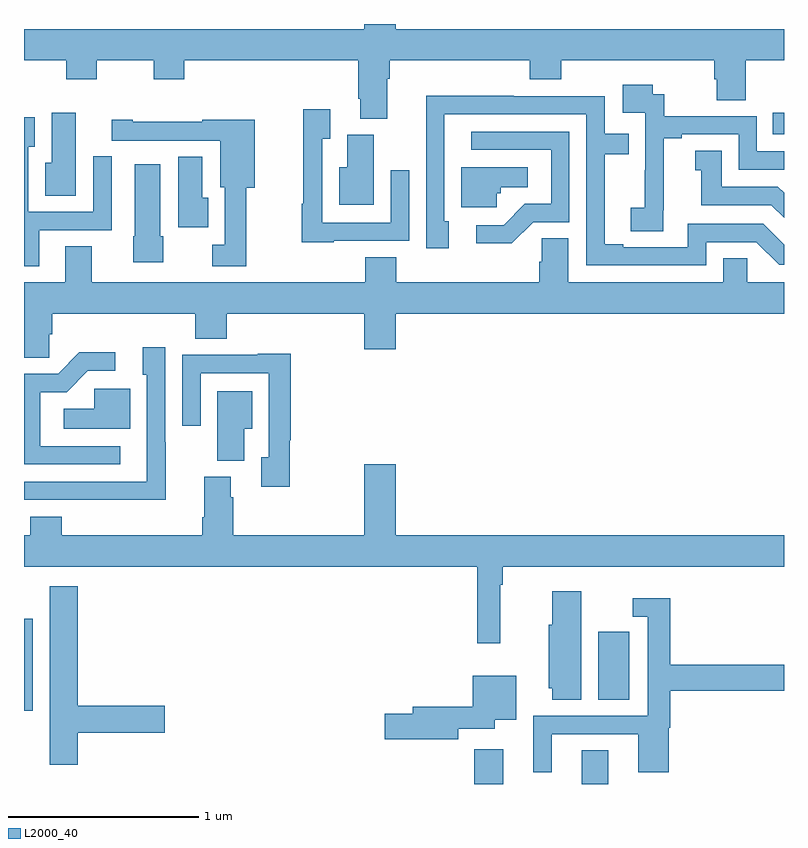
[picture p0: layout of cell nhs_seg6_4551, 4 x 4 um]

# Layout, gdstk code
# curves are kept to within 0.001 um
import gdstk
lib = gdstk.Library(unit=1e-6, precision=1e-09)
def R(c, l, rs):  # rectangles x0, y0, x1, y1
    for r in rs: c.add(gdstk.rectangle(r[:2], r[2:], *l))
def P(c, l, *ps):  # polygons
    for p in ps: c.add(gdstk.Polygon(p, *l))
L2000_40 = (2000, 40)

nhs_seg6_4551 = lib.new_cell('nhs_seg6_4551')
R(nhs_seg6_4551, L2000_40, [(381.371,971.5,381.523,971.683), (381.935,971.5,382.075,971.678), (379,971.886,379.047,972.369), (382.022,971.944,382.186,972.301), (382.942,974.919,383,975.034)])
P(nhs_seg6_4551, L2000_40, [(380.956,975.5),(380.792,975.5),(380.792,975.472),(379,975.472),(379,975.308),(379.223,975.308),(379.223,975.209),(379.383,975.209),(379.383,975.308),(379.684,975.308),(379.684,975.209),(379.844,975.209),(379.844,975.308),(380.759,975.308),(380.759,975.106),(380.771,975.106),(380.771,975.001),(380.911,975.001),(380.911,975.212),(380.924,975.212),(380.924,975.308),(381.662,975.308),(381.662,975.209),(381.827,975.209),(381.827,975.308),(382.634,975.308),(382.634,975.21),(382.646,975.21),(382.646,975.1),(382.799,975.1),(382.799,975.308),(383,975.308),(383,975.472),(380.956,975.472)],
  [(382.364,974.521),(382.366,974.521),(382.366,974.899),(382.462,974.899),(382.462,974.919),(382.761,974.919),(382.761,974.733),(383,974.733),(383,974.829),(382.857,974.829),(382.857,975.015),(382.37,975.015),(382.37,975.129),(382.308,975.129),(382.308,975.181),(382.152,975.181),(382.152,975.033),(382.269,975.033),(382.269,974.729),(382.268,974.729),(382.268,974.532),(382.194,974.532),(382.194,974.41),(382.364,974.41)],
  [(382.59,974.352),(382.854,974.352),(382.974,974.232),(383,974.232),(383,974.338),(382.89,974.448),(382.494,974.448),(382.494,974.325),(382.153,974.325),(382.153,974.34),(382.057,974.34),(382.057,974.814),(382.184,974.814),(382.184,974.922),(382.056,974.922),(382.056,975.12),(381.578,975.12),(381.578,975.122),(381.116,975.122),(381.117,974.319),(381.235,974.319),(381.235,974.463),(381.213,974.463),(381.213,975.024),(381.96,975.024),(381.96,974.229),(382.59,974.229)],
  [(380.631,974.358),(381.027,974.358),(381.027,974.731),(380.931,974.731),(380.931,974.454),(380.571,974.454),(380.571,974.896),(380.611,974.896),(380.611,975.052),(380.47,975.052),(380.47,974.555),(380.463,974.555),(380.463,974.351),(380.631,974.351)],
  [(379.273,975.034),(379.145,975.034),(379.145,974.77),(379.112,974.77),(379.112,974.596),(379.273,974.596)],
  [(379.081,974.415),(379.461,974.415),(379.461,974.805),(379.365,974.805),(379.365,974.511),(379.023,974.511),(379.023,974.854),(379.057,974.854),(379.057,975.01),(379,975.01),(379,974.226),(379.081,974.226)],
  [(380.171,974.639),(380.215,974.639),(380.215,974.995),(379.937,974.995),(379.937,974.985),(379.573,974.985),(379.573,974.995),(379.461,974.995),(379.461,974.886),(380.033,974.886),(380.033,974.64),(380.057,974.64),(380.057,974.338),(379.992,974.338),(379.992,974.225),(380.171,974.225)],
  [(381.681,974.457),(381.87,974.457),(381.87,974.934),(381.354,974.934),(381.354,974.838),(381.774,974.838),(381.774,974.553),(381.636,974.553),(381.525,974.442),(381.381,974.442),(381.381,974.345),(381.568,974.345)],
  [(380.842,974.916),(380.702,974.916),(380.702,974.746),(380.66,974.746),(380.66,974.549),(380.842,974.549)],
  [(383,974.611),(382.968,974.643),(382.672,974.643),(382.672,974.834),(382.532,974.834),(382.532,974.731),(382.565,974.731),(382.565,974.547),(382.932,974.547),(383,974.479)],
  [(379.969,974.586),(379.939,974.586),(379.939,974.801),(379.811,974.801),(379.811,974.43),(379.969,974.43)],
  [(379.732,974.382),(379.717,974.382),(379.717,974.761),(379.583,974.761),(379.583,974.382),(379.574,974.382),(379.574,974.246),(379.732,974.246)],
  [(381.489,974.61),(381.508,974.61),(381.508,974.642),(381.652,974.642),(381.652,974.746),(381.302,974.746),(381.302,974.535),(381.489,974.535)],
  [(379.134,973.867),(379.148,973.867),(379.148,973.976),(379.901,973.976),(379.901,973.843),(380.066,973.843),(380.066,973.976),(380.792,973.976),(380.792,973.788),(380.956,973.788),(380.956,973.976),(383,973.976),(383,974.14),(382.806,974.14),(382.806,974.267),(382.679,974.267),(382.679,974.14),(381.865,974.14),(381.865,974.372),(381.726,974.372),(381.726,974.249),(381.713,974.249),(381.713,974.14),(380.96,974.14),(380.96,974.273),(380.795,974.273),(380.795,974.14),(379.357,974.14),(379.357,974.33),(379.217,974.33),(379.217,974.14),(379,974.14),(379,973.744),(379.134,973.744)],
  [(379.745,973.298),(379.743,973.298),(379.743,973.798),(379.625,973.798),(379.625,973.653),(379.647,973.653),(379.647,973.092),(379,973.092),(379,972.996),(379.282,972.996),(379.282,972.995),(379.745,972.995)],
  [(379.507,973.278),(379.086,973.278),(379.086,973.563),(379.224,973.563),(379.335,973.674),(379.48,973.674),(379.48,973.772),(379.292,973.772),(379.179,973.659),(379,973.659),(379,973.182),(379.507,973.182)],
  [(380.398,973.309),(380.405,973.309),(380.405,973.765),(380.229,973.765),(380.229,973.758),(379.833,973.758),(379.833,973.386),(379.929,973.386),(379.929,973.662),(380.289,973.662),(380.289,973.221),(380.249,973.221),(380.249,973.065),(380.398,973.065)],
  [(379.558,973.581),(379.371,973.581),(379.371,973.474),(379.209,973.474),(379.209,973.37),(379.558,973.37)],
  [(380.158,973.37),(380.2,973.37),(380.2,973.567),(380.018,973.567),(380.018,973.201),(380.158,973.201)],
  [(381.506,972.548),(381.521,972.548),(381.521,972.644),(383,972.644),(383,972.808),(380.956,972.808),(380.956,973.183),(380.792,973.183),(380.792,972.808),(380.102,972.808),(380.102,973.01),(380.089,973.01),(380.089,973.116),(379.949,973.116),(379.949,972.904),(379.937,972.904),(379.937,972.808),(379.199,972.808),(379.199,972.907),(379.034,972.907),(379.034,972.808),(379,972.808),(379,972.644),(381.385,972.644),(381.385,972.24),(381.506,972.24)],
  [(379.283,971.77),(379.741,971.77),(379.741,971.912),(379.283,971.912),(379.283,972.541),(379.136,972.541),(379.136,971.601),(379.283,971.601)],
  [(381.934,972.514),(381.779,972.514),(381.779,972.339),(381.761,972.339),(381.761,972.003),(381.779,972.003),(381.779,971.944),(381.934,971.944)],
  [(381.778,971.763),(382.232,971.763),(382.232,971.562),(382.394,971.562),(382.394,971.795),(382.4,971.795),(382.4,971.992),(383,971.992),(383,972.128),(382.4,972.128),(382.4,972.478),(382.203,972.478),(382.203,972.381),(382.284,972.381),(382.284,971.859),(381.68,971.859),(381.68,971.562),(381.778,971.562)],
  [(381.286,971.79),(381.478,971.79),(381.478,971.837),(381.592,971.837),(381.592,972.07),(381.362,972.07),(381.362,971.906),(381.047,971.906),(381.047,971.87),(380.898,971.87),(380.898,971.735),(381.286,971.735)])

lib.write_gds('nhs_seg6_4551.gds')
